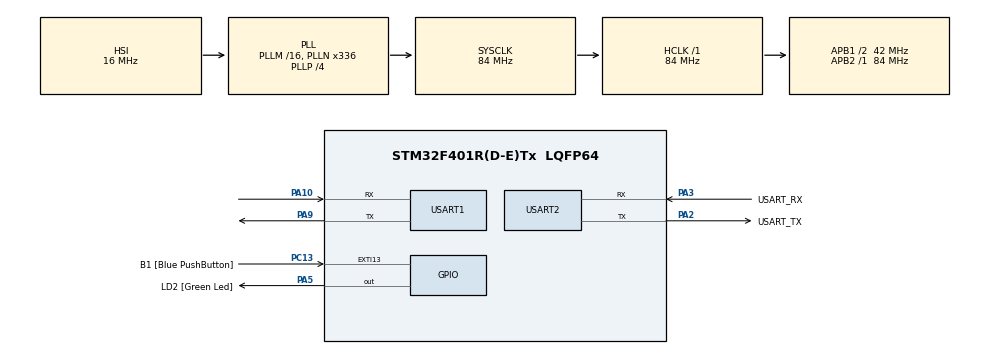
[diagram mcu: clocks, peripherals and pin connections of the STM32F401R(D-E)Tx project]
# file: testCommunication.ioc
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Mcu.Family=STM32F4
Mcu.Name=STM32F401R(D-E)Tx
Mcu.Package=LQFP64
NVIC.PriorityGroup=NVIC_PRIORITYGROUP_0
NVIC.USART1_IRQn=true\:0\:0\:false\:false\:true\:true\:true
PA10.Mode=Asynchronous
PA10.Signal=USART1_RX
PA13.GPIO_Label=TMS
PA13.Mode=Serial_Wire
PA13.Signal=SYS_JTMS-SWDIO
PA14.GPIO_Label=TCK
PA14.Mode=Serial_Wire
PA14.Signal=SYS_JTCK-SWCLK
PA2.GPIO_Label=USART_TX
PA2.GPIO_Mode=GPIO_MODE_AF_PP
PA2.GPIO_PuPd=GPIO_NOPULL
PA2.GPIO_Speed=GPIO_SPEED_FREQ_LOW
PA2.Mode=Asynchronous
PA2.Signal=USART2_TX
PA3.GPIO_Label=USART_RX
PA3.GPIO_Mode=GPIO_MODE_AF_PP
PA3.GPIO_PuPd=GPIO_NOPULL
PA3.GPIO_Speed=GPIO_SPEED_FREQ_LOW
PA3.Mode=Asynchronous
PA3.Signal=USART2_RX
PA5.GPIO_Label=LD2 [Green Led]
PA5.GPIO_Mode=GPIO_MODE_OUTPUT_PP
PA5.GPIO_PuPd=GPIO_NOPULL
PA5.GPIO_Speed=GPIO_SPEED_FREQ_LOW
PA5.Signal=GPIO_Output
PA9.Mode=Asynchronous
PA9.Signal=USART1_TX
PB3.GPIO_Label=SWO
PB3.Signal=SYS_JTDO-SWO
PC13-ANTI_TAMP.GPIO_Label=B1 [Blue PushButton]
PC13-ANTI_TAMP.GPIO_ModeDefaultEXTI=GPIO_MODE_IT_FALLING
PC13-ANTI_TAMP.GPIO_PuPd=GPIO_NOPULL
PC13-ANTI_TAMP.Signal=GPXTI13
PC14-OSC32_IN.Mode=LSE-External-Oscillator
PC14-OSC32_IN.Signal=RCC_OSC32_IN
PC15-OSC32_OUT.Mode=LSE-External-Oscillator
PC15-OSC32_OUT.Signal=RCC_OSC32_OUT
PH0\ -\ OSC_IN.Mode=HSE-External-Clock-Source
PH0\ -\ OSC_IN.Signal=RCC_OSC_IN
PH1\ -\ OSC_OUT.Mode=HSE-External-Clock-Source
PH1\ -\ OSC_OUT.Signal=RCC_OSC_OUT
ProjectManager.HeapSize=0x200
ProjectManager.StackSize=0x400
ProjectManager.TargetToolchain=STM32CubeIDE
RCC.48MHZClocksFreq_Value=48000000
RCC.AHBFreq_Value=84000000
RCC.APB1CLKDivider=RCC_HCLK_DIV2
RCC.APB1Freq_Value=42000000
RCC.APB1TimFreq_Value=84000000
RCC.APB2Freq_Value=84000000
RCC.APB2TimFreq_Value=84000000
RCC.CortexFreq_Value=84000000
RCC.HCLKFreq_Value=84000000
RCC.HSE_VALUE=8000000
RCC.HSI_VALUE=16000000
RCC.PLLN=336
RCC.PLLP=RCC_PLLP_DIV4
RCC.PLLQ=7
RCC.SYSCLKFreq_VALUE=84000000
RCC.SYSCLKSource=RCC_SYSCLKSOURCE_PLLCLK
RCC.VCOOutputFreq_Value=336000000
USART1.VirtualMode=VM_ASYNC
USART2.VirtualMode=VM_ASYNC
board=NUCLEO-F401RE

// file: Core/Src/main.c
/* USER CODE BEGIN Header */
/**
  ******************************************************************************
  * @file           : main.c
  * @brief          : Main program body
  ******************************************************************************
  * @attention
  *
  * <h2><center>&copy; Copyright (c) 2022 STMicroelectronics.
  * All rights reserved.</center></h2>
  *
  * This software component is licensed by ST under BSD 3-Clause license,
  * the "License"; You may not use this file except in compliance with the
  * License. You may obtain a copy of the License at:
  *                        opensource.org/licenses/BSD-3-Clause
  *
  ******************************************************************************
  */
/* USER CODE END Header */
#include "main.h"
/* USER CODE BEGIN Includes */
#include <string.h>
#include <stdio.h>
/* USER CODE END Includes */

UART_HandleTypeDef huart1;
UART_HandleTypeDef huart2;

/* USER CODE BEGIN PV */
char Rx_data[11] = {0};
/* USER CODE END PV */

void SystemClock_Config(void);
static void MX_GPIO_Init(void);
static void MX_USART2_UART_Init(void);
static void MX_USART1_UART_Init(void);

/* USER CODE BEGIN 0 */
void HAL_UART_RxCpltCallback(UART_HandleTypeDef *huart)
{
  HAL_UART_Receive_IT(&huart1, (uint8_t*) Rx_data, 11);
//  HAL_UART_Transmit(&huart2, (uint8_t*) Rx_data, sizeof(Rx_data), 1000);
}
/* USER CODE END 0 */

int main(void)
{

  /* MCU Configuration--------------------------------------------------------*/

  /* Reset of all peripherals, Initializes the Flash interface and the Systick. */
  HAL_Init();

  /* Configure the system clock */
  SystemClock_Config();

  /* Initialize all configured peripherals */
  MX_GPIO_Init();
  MX_USART2_UART_Init();
  MX_USART1_UART_Init();
  /* USER CODE BEGIN 2 */
  HAL_UART_Receive_IT(&huart1, (uint8_t*) Rx_data,sizeof(Rx_data)); // Nhận Data

  HAL_GPIO_WritePin(GPIOC, GPIO_PIN_10, GPIO_PIN_RESET);
  HAL_GPIO_WritePin(GPIOC, GPIO_PIN_12, GPIO_PIN_RESET);

  /* USER CODE END 2 */

  /* Infinite loop */
  while (1)
  {

    /* USER CODE BEGIN 3 */

	  HAL_UART_Transmit(&huart2, (uint8_t*) Rx_data, sizeof(Rx_data), 1000);
      if(Rx_data == "00"){

    	  HAL_GPIO_WritePin(GPIOC, GPIO_PIN_10, GPIO_PIN_RESET);
    	  HAL_GPIO_WritePin(GPIOC, GPIO_PIN_12, GPIO_PIN_RESET);
      }
      else if(Rx_data == "11"){
    	  HAL_GPIO_WritePin(GPIOC, GPIO_PIN_10, GPIO_PIN_SET);
    	  HAL_GPIO_WritePin(GPIOC, GPIO_PIN_12, GPIO_PIN_SET);
      }
  }
  /* USER CODE END 3 */
}

void SystemClock_Config(void)
{
  RCC_OscInitTypeDef RCC_OscInitStruct = {0};
  RCC_ClkInitTypeDef RCC_ClkInitStruct = {0};

  /** Configure the main internal regulator output voltage
  */
  __HAL_RCC_PWR_CLK_ENABLE();
  __HAL_PWR_VOLTAGESCALING_CONFIG(PWR_REGULATOR_VOLTAGE_SCALE2);
  /** Initializes the RCC Oscillators according to the specified parameters
  * in the RCC_OscInitTypeDef structure.
  */
  RCC_OscInitStruct.OscillatorType = RCC_OSCILLATORTYPE_HSI;
  RCC_OscInitStruct.HSIState = RCC_HSI_ON;
  RCC_OscInitStruct.HSICalibrationValue = RCC_HSICALIBRATION_DEFAULT;
  RCC_OscInitStruct.PLL.PLLState = RCC_PLL_ON;
  RCC_OscInitStruct.PLL.PLLSource = RCC_PLLSOURCE_HSI;
  RCC_OscInitStruct.PLL.PLLM = 16;
  RCC_OscInitStruct.PLL.PLLN = 336;
  RCC_OscInitStruct.PLL.PLLP = RCC_PLLP_DIV4;
  RCC_OscInitStruct.PLL.PLLQ = 7;
  if (HAL_RCC_OscConfig(&RCC_OscInitStruct) != HAL_OK)
  {
    Error_Handler();
  }
  /** Initializes the CPU, AHB and APB buses clocks
  */
  RCC_ClkInitStruct.ClockType = RCC_CLOCKTYPE_HCLK|RCC_CLOCKTYPE_SYSCLK
                              |RCC_CLOCKTYPE_PCLK1|RCC_CLOCKTYPE_PCLK2;
  RCC_ClkInitStruct.SYSCLKSource = RCC_SYSCLKSOURCE_PLLCLK;
  RCC_ClkInitStruct.AHBCLKDivider = RCC_SYSCLK_DIV1;
  RCC_ClkInitStruct.APB1CLKDivider = RCC_HCLK_DIV2;
  RCC_ClkInitStruct.APB2CLKDivider = RCC_HCLK_DIV1;

  if (HAL_RCC_ClockConfig(&RCC_ClkInitStruct, FLASH_LATENCY_2) != HAL_OK)
  {
    Error_Handler();
  }
}

static void MX_USART1_UART_Init(void)
{

  huart1.Instance = USART1;
  huart1.Init.BaudRate = 115200;
  huart1.Init.WordLength = UART_WORDLENGTH_8B;
  huart1.Init.StopBits = UART_STOPBITS_1;
  huart1.Init.Parity = UART_PARITY_NONE;
  huart1.Init.Mode = UART_MODE_TX_RX;
  huart1.Init.HwFlowCtl = UART_HWCONTROL_NONE;
  huart1.Init.OverSampling = UART_OVERSAMPLING_16;
  if (HAL_UART_Init(&huart1) != HAL_OK)
  {
    Error_Handler();
  }

}

static void MX_USART2_UART_Init(void)
{

  huart2.Instance = USART2;
  huart2.Init.BaudRate = 115200;
  huart2.Init.WordLength = UART_WORDLENGTH_8B;
  huart2.Init.StopBits = UART_STOPBITS_1;
  huart2.Init.Parity = UART_PARITY_NONE;
  huart2.Init.Mode = UART_MODE_TX_RX;
  huart2.Init.HwFlowCtl = UART_HWCONTROL_NONE;
  huart2.Init.OverSampling = UART_OVERSAMPLING_16;
  if (HAL_UART_Init(&huart2) != HAL_OK)
  {
    Error_Handler();
  }

}

static void MX_GPIO_Init(void)
{
  GPIO_InitTypeDef GPIO_InitStruct = {0};

  /* GPIO Ports Clock Enable */
  __HAL_RCC_GPIOC_CLK_ENABLE();
  __HAL_RCC_GPIOH_CLK_ENABLE();
  __HAL_RCC_GPIOA_CLK_ENABLE();
  __HAL_RCC_GPIOB_CLK_ENABLE();

  /*Configure GPIO pin Output Level */
  HAL_GPIO_WritePin(LD2_GPIO_Port, LD2_Pin, GPIO_PIN_RESET);

  /*Configure GPIO pin : B1_Pin */
  GPIO_InitStruct.Pin = B1_Pin;
  GPIO_InitStruct.Mode = GPIO_MODE_IT_FALLING;
  GPIO_InitStruct.Pull = GPIO_NOPULL;
  HAL_GPIO_Init(B1_GPIO_Port, &GPIO_InitStruct);

  /*Configure GPIO pin : LD2_Pin */
  GPIO_InitStruct.Pin = LD2_Pin;
  GPIO_InitStruct.Mode = GPIO_MODE_OUTPUT_PP;
  GPIO_InitStruct.Pull = GPIO_NOPULL;
  GPIO_InitStruct.Speed = GPIO_SPEED_FREQ_LOW;
  HAL_GPIO_Init(LD2_GPIO_Port, &GPIO_InitStruct);

}

void Error_Handler(void)
{
  __disable_irq();
  while (1)
  {
  }
}

/************************ (C) COPYRIGHT STMicroelectronics *****END OF FILE****/
